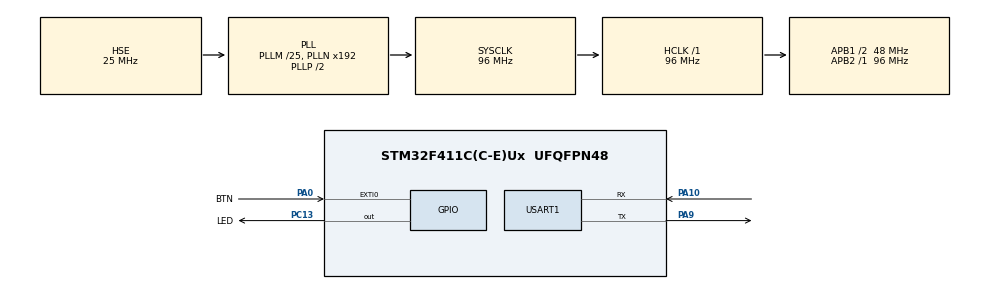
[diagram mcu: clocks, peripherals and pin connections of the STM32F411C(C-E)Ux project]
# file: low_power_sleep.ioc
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Mcu.Family=STM32F4
Mcu.Name=STM32F411C(C-E)Ux
Mcu.Package=UFQFPN48
NVIC.EXTI0_IRQn=true\:0\:0\:false\:false\:true\:true\:true
NVIC.PriorityGroup=NVIC_PRIORITYGROUP_4
NVIC.USART1_IRQn=true\:0\:0\:false\:false\:true\:true\:true
PA0-WKUP.GPIO_Label=BTN
PA0-WKUP.GPIO_ModeDefaultEXTI=GPIO_MODE_IT_FALLING
PA0-WKUP.GPIO_PuPd=GPIO_PULLUP
PA0-WKUP.Signal=GPXTI0
PA10.Mode=Asynchronous
PA10.Signal=USART1_RX
PA13.Mode=Serial_Wire
PA13.Signal=SYS_JTMS-SWDIO
PA14.Mode=Serial_Wire
PA14.Signal=SYS_JTCK-SWCLK
PA9.Mode=Asynchronous
PA9.Signal=USART1_TX
PC13-ANTI_TAMP.GPIO_Label=LED
PC13-ANTI_TAMP.GPIO_ModeDefaultOutputPP=GPIO_MODE_OUTPUT_OD
PC13-ANTI_TAMP.GPIO_PuPd=GPIO_NOPULL
PC13-ANTI_TAMP.PinState=GPIO_PIN_SET
PC13-ANTI_TAMP.Signal=GPIO_Output
PH0\ -\ OSC_IN.Mode=HSE-External-Oscillator
PH0\ -\ OSC_IN.Signal=RCC_OSC_IN
PH1\ -\ OSC_OUT.Mode=HSE-External-Oscillator
PH1\ -\ OSC_OUT.Signal=RCC_OSC_OUT
ProjectManager.HeapSize=0x200
ProjectManager.StackSize=0x400
ProjectManager.TargetToolchain=STM32CubeIDE
RCC.48MHZClocksFreq_Value=48000000
RCC.AHBFreq_Value=96000000
RCC.APB1CLKDivider=RCC_HCLK_DIV2
RCC.APB1Freq_Value=48000000
RCC.APB1TimFreq_Value=96000000
RCC.APB2Freq_Value=96000000
RCC.APB2TimFreq_Value=96000000
RCC.CortexFreq_Value=96000000
RCC.HCLKFreq_Value=96000000
RCC.HSE_VALUE=25000000
RCC.HSI_VALUE=16000000
RCC.LSE_VALUE=32768
RCC.PLLM=25
RCC.PLLSourceVirtual=RCC_PLLSOURCE_HSE
RCC.SYSCLKFreq_VALUE=96000000
RCC.SYSCLKSource=RCC_SYSCLKSOURCE_PLLCLK
RCC.VCOOutputFreq_Value=192000000
USART1.VirtualMode=VM_ASYNC
board=custom

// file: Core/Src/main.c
/* USER CODE BEGIN Header */
/**
  ******************************************************************************
  * @file           : main.c
  * @brief          : Main program body
  ******************************************************************************
  * @attention
  *
  * Copyright (c) 2021 STMicroelectronics.
  * All rights reserved.
  *
  * This software is licensed under terms that can be found in the LICENSE file
  * in the root directory of this software component.
  * If no LICENSE file comes with this software, it is provided AS-IS.
  *
  ******************************************************************************
  */
/* USER CODE END Header */
#include "main.h"

/* USER CODE BEGIN Includes */
#include <stdio.h>
/* USER CODE END Includes */

UART_HandleTypeDef huart1;

void SystemClock_Config(void);
static void MX_GPIO_Init(void);
static void MX_USART1_UART_Init(void);

/* USER CODE BEGIN 0 */

// Send printf to uart1
int _write(int fd, char* ptr, int len) {
  HAL_StatusTypeDef hstatus;

  if (fd == 1 || fd == 2) {
    hstatus = HAL_UART_Transmit(&huart1, (uint8_t *) ptr, len, HAL_MAX_DELAY);
    if (hstatus == HAL_OK)
      return len;
    else
      return -1;
  }
  return -1;
}

/* USER CODE END 0 */

int main(void)
{

  /* MCU Configuration--------------------------------------------------------*/

  /* Reset of all peripherals, Initializes the Flash interface and the Systick. */
  HAL_Init();

  /* Configure the system clock */
  SystemClock_Config();

  /* Initialize all configured peripherals */
  MX_GPIO_Init();
  MX_USART1_UART_Init();
  /* USER CODE BEGIN 2 */

  DBG("Start");

  /* USER CODE END 2 */

  /* Infinite loop */
  /* USER CODE BEGIN WHILE */

  uint32_t loop_count = 0;

  while (1)
  {

	  DBG("Loop count = %lu", loop_count);

	  DBG("Staying awake for 5 secs");
	  HAL_GPIO_WritePin(LED_GPIO_Port, LED_Pin, GPIO_PIN_RESET);
	  HAL_Delay(5000);

	  DBG("Going to sleep");

	  HAL_GPIO_WritePin(LED_GPIO_Port, LED_Pin, GPIO_PIN_SET);
	  HAL_SuspendTick();

	  HAL_PWR_EnterSLEEPMode(PWR_MAINREGULATOR_ON, PWR_SLEEPENTRY_WFI);
	  HAL_PWR_EnableSleepOnExit();

	  HAL_ResumeTick();
	  DBG("Woke up from sleep mode");

	  loop_count++;

    /* USER CODE END WHILE */

  }
}

void SystemClock_Config(void)
{
  RCC_OscInitTypeDef RCC_OscInitStruct = {0};
  RCC_ClkInitTypeDef RCC_ClkInitStruct = {0};

  /** Configure the main internal regulator output voltage
  */
  __HAL_RCC_PWR_CLK_ENABLE();
  __HAL_PWR_VOLTAGESCALING_CONFIG(PWR_REGULATOR_VOLTAGE_SCALE1);
  /** Initializes the RCC Oscillators according to the specified parameters
  * in the RCC_OscInitTypeDef structure.
  */
  RCC_OscInitStruct.OscillatorType = RCC_OSCILLATORTYPE_HSE;
  RCC_OscInitStruct.HSEState = RCC_HSE_ON;
  RCC_OscInitStruct.PLL.PLLState = RCC_PLL_ON;
  RCC_OscInitStruct.PLL.PLLSource = RCC_PLLSOURCE_HSE;
  RCC_OscInitStruct.PLL.PLLM = 25;
  RCC_OscInitStruct.PLL.PLLN = 192;
  RCC_OscInitStruct.PLL.PLLP = RCC_PLLP_DIV2;
  RCC_OscInitStruct.PLL.PLLQ = 4;
  if (HAL_RCC_OscConfig(&RCC_OscInitStruct) != HAL_OK)
  {
    Error_Handler();
  }
  /** Initializes the CPU, AHB and APB buses clocks
  */
  RCC_ClkInitStruct.ClockType = RCC_CLOCKTYPE_HCLK|RCC_CLOCKTYPE_SYSCLK
                              |RCC_CLOCKTYPE_PCLK1|RCC_CLOCKTYPE_PCLK2;
  RCC_ClkInitStruct.SYSCLKSource = RCC_SYSCLKSOURCE_PLLCLK;
  RCC_ClkInitStruct.AHBCLKDivider = RCC_SYSCLK_DIV1;
  RCC_ClkInitStruct.APB1CLKDivider = RCC_HCLK_DIV2;
  RCC_ClkInitStruct.APB2CLKDivider = RCC_HCLK_DIV1;

  if (HAL_RCC_ClockConfig(&RCC_ClkInitStruct, FLASH_LATENCY_3) != HAL_OK)
  {
    Error_Handler();
  }
}

static void MX_USART1_UART_Init(void)
{

  huart1.Instance = USART1;
  huart1.Init.BaudRate = 115200;
  huart1.Init.WordLength = UART_WORDLENGTH_8B;
  huart1.Init.StopBits = UART_STOPBITS_1;
  huart1.Init.Parity = UART_PARITY_NONE;
  huart1.Init.Mode = UART_MODE_TX_RX;
  huart1.Init.HwFlowCtl = UART_HWCONTROL_NONE;
  huart1.Init.OverSampling = UART_OVERSAMPLING_16;
  if (HAL_UART_Init(&huart1) != HAL_OK)
  {
    Error_Handler();
  }

}

static void MX_GPIO_Init(void)
{
  GPIO_InitTypeDef GPIO_InitStruct = {0};

  /* GPIO Ports Clock Enable */
  __HAL_RCC_GPIOC_CLK_ENABLE();
  __HAL_RCC_GPIOH_CLK_ENABLE();
  __HAL_RCC_GPIOA_CLK_ENABLE();

  /*Configure GPIO pin Output Level */
  HAL_GPIO_WritePin(LED_GPIO_Port, LED_Pin, GPIO_PIN_SET);

  /*Configure GPIO pin : LED_Pin */
  GPIO_InitStruct.Pin = LED_Pin;
  GPIO_InitStruct.Mode = GPIO_MODE_OUTPUT_OD;
  GPIO_InitStruct.Pull = GPIO_NOPULL;
  GPIO_InitStruct.Speed = GPIO_SPEED_FREQ_LOW;
  HAL_GPIO_Init(LED_GPIO_Port, &GPIO_InitStruct);

  /*Configure GPIO pin : BTN_Pin */
  GPIO_InitStruct.Pin = BTN_Pin;
  GPIO_InitStruct.Mode = GPIO_MODE_IT_FALLING;
  GPIO_InitStruct.Pull = GPIO_PULLUP;
  HAL_GPIO_Init(BTN_GPIO_Port, &GPIO_InitStruct);

  /* EXTI interrupt init*/
  HAL_NVIC_SetPriority(EXTI0_IRQn, 0, 0);
  HAL_NVIC_EnableIRQ(EXTI0_IRQn);

}

void Error_Handler(void)
{
  __disable_irq();
  while (1)
  {
  }
}
